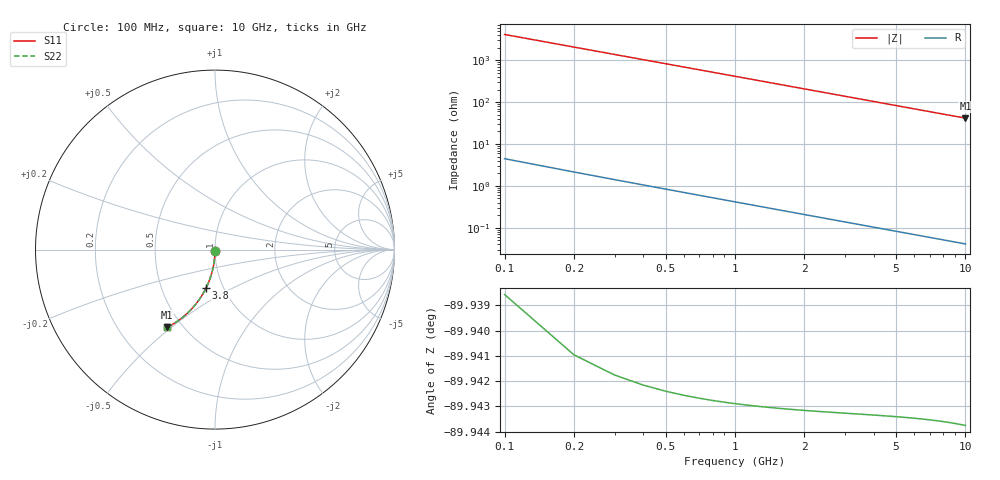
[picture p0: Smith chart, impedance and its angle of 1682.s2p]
# Hz S RI R 50.00
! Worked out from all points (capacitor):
!   100 points, 100 MHz to 10 GHz, reference 50 ohm
!   read as one part in shunt: C = 382 fF near 100 MHz
!   lowest |Z| = 41.7 ohm at 10 GHz (marker M1)
!   S11 on the Smith chart (normalised r, x): 100 MHz: 1.00, -0.01; 3.8 GHz: 0.83, -0.37; 10 GHz: 0.41, -0.48
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1e8  -2.48e-05 -0.00592  0.9999 -0.00609  0.9999 -0.00609  -2.48e-05 -0.00592
2e8  -0.000139 -0.0118  0.9998 -0.0122  0.9998 -0.0122  -0.000139 -0.0118
3e8  -0.000325 -0.0177  0.9996 -0.0183  0.9996 -0.0183  -0.000325 -0.0177
4e8  -0.000582 -0.0237  0.9994 -0.0243  0.9994 -0.0243  -0.000582 -0.0237
5e8  -0.000912 -0.0296  0.9991 -0.0304  0.9991 -0.0304  -0.000912 -0.0296
6e8  -0.00131 -0.0355  0.9986 -0.0365  0.9986 -0.0365  -0.00131 -0.0355
7e8  -0.00179 -0.0414  0.9982 -0.0425  0.9982 -0.0425  -0.00179 -0.0414
8e8  -0.00233 -0.0472  0.9976 -0.0486  0.9976 -0.0486  -0.00233 -0.0472
9e8  -0.00295 -0.0531  0.997 -0.0546  0.997 -0.0546  -0.00295 -0.0531
1.1e9  -0.00439 -0.0648  0.9956 -0.0667  0.9956 -0.0667  -0.00439 -0.0648
1.4e9  -0.00708 -0.0823  0.9929 -0.0847  0.9929 -0.0847  -0.00708 -0.0823
1.8e9  -0.0116 -0.1053  0.9883 -0.1084  0.9883 -0.1084  -0.0116 -0.1053
2.1e9  -0.0158 -0.1224  0.9842 -0.1259  0.9842 -0.1259  -0.0158 -0.1224
2.5e9  -0.0222 -0.1447  0.9778 -0.149  0.9778 -0.149  -0.0222 -0.1447
2.9e9  -0.0296 -0.1666  0.9703 -0.1716  0.9703 -0.1716  -0.0296 -0.1666
3.4e9  -0.0402 -0.1932  0.9597 -0.199  0.9597 -0.199  -0.0402 -0.1932
3.8e9  -0.0498 -0.2138  0.9502 -0.2203  0.9502 -0.2203  -0.0498 -0.2138
4.4e9  -0.0656 -0.2434  0.9343 -0.251  0.9343 -0.251  -0.0656 -0.2434
5.1e9  -0.0862 -0.2759  0.9137 -0.2847  0.9137 -0.2847  -0.0862 -0.2759
6.7e9  -0.1401 -0.3409  0.8598 -0.3525  0.8598 -0.3525  -0.1401 -0.3409
8.4e9  -0.204 -0.3952  0.7959 -0.4099  0.7959 -0.4099  -0.204 -0.3952
1e10  -0.2665 -0.4329  0.7333 -0.4505  0.7333 -0.4505  -0.2665 -0.4329
